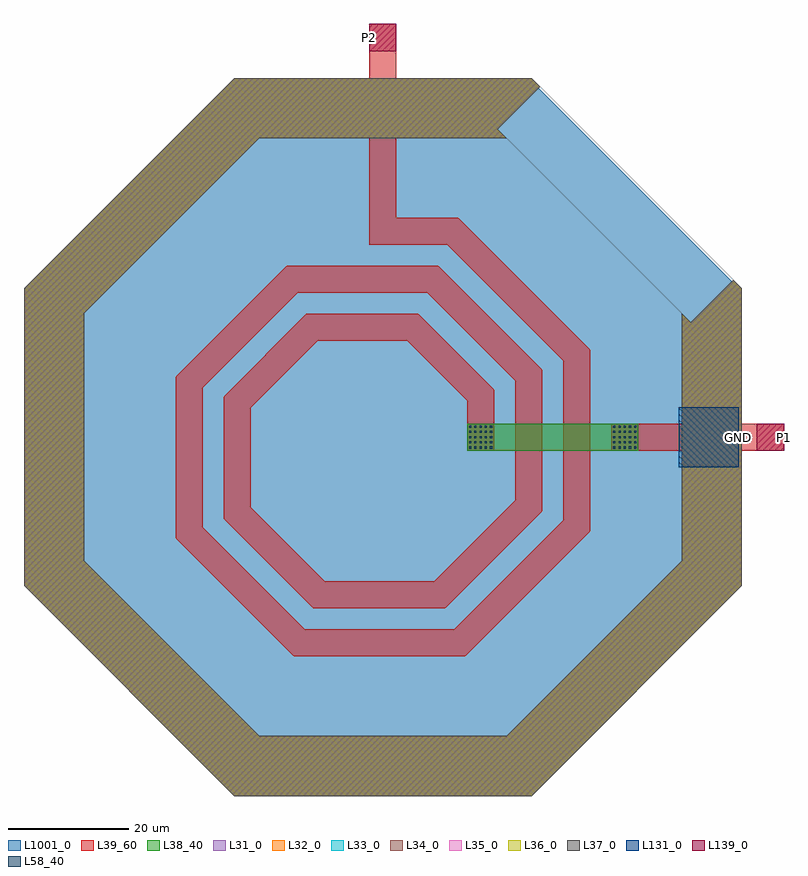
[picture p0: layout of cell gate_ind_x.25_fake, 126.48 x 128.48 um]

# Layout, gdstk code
import gdstk
lib = gdstk.Library(unit=1e-6, precision=1e-09)
def R(c, l, rs):  # rectangles x0, y0, x1, y1
    for r in rs: c.add(gdstk.rectangle(r[:2], r[2:], *l))
def A(c, l, x, y, w, h, nx, ny, dx, dy):  # array of equal rectangles
    R(c, l, [(x+i*dx, y+j*dy, x+i*dx+w, y+j*dy+h) for i in range(nx) for j in range(ny)])
def P(c, l, *ps):  # polygons
    for p in ps: c.add(gdstk.Polygon(p, *l))
L31_0 = (31, 0)
L32_0 = (32, 0)
L33_0 = (33, 0)
L34_0 = (34, 0)
L35_0 = (35, 0)
L36_0 = (36, 0)
L37_0 = (37, 0)
L38_40 = (38, 40)
L39_60 = (39, 60)
L58_40 = (58, 40)
L131_0 = (131, 0)
L139_0 = (139, 0)
L1001_0 = (1001, 0)

gate_ind_x_25_fake = lib.new_cell('gate_ind_x.25_fake')
P(gate_ind_x_25_fake, L31_0, [(51.201,19.137),(58.272,26.208),(24.744,59.737),(-24.744,59.737),(-59.737,24.744),(-59.737,-24.744),(-24.744,-59.737),(24.744,-59.737),(59.737,-24.744),(59.737,24.744),(26.208,58.272),(19.137,51.201),(49.737,20.602),(49.737,-20.602),(20.602,-49.737),(-20.602,-49.737),(-49.737,-20.602),(-49.737,20.602),(-20.602,49.737),(20.602,49.737)])
P(gate_ind_x_25_fake, L32_0, [(51.201,19.137),(58.272,26.208),(24.744,59.737),(-24.744,59.737),(-59.737,24.744),(-59.737,-24.744),(-24.744,-59.737),(24.744,-59.737),(59.737,-24.744),(59.737,24.744),(26.208,58.272),(19.137,51.201),(49.737,20.602),(49.737,-20.602),(20.602,-49.737),(-20.602,-49.737),(-49.737,-20.602),(-49.737,20.602),(-20.602,49.737),(20.602,49.737)])
P(gate_ind_x_25_fake, L33_0, [(51.201,19.137),(58.272,26.208),(24.744,59.737),(-24.744,59.737),(-59.737,24.744),(-59.737,-24.744),(-24.744,-59.737),(24.744,-59.737),(59.737,-24.744),(59.737,24.744),(26.208,58.272),(19.137,51.201),(49.737,20.602),(49.737,-20.602),(20.602,-49.737),(-20.602,-49.737),(-49.737,-20.602),(-49.737,20.602),(-20.602,49.737),(20.602,49.737)])
P(gate_ind_x_25_fake, L34_0, [(51.201,19.137),(58.272,26.208),(24.744,59.737),(-24.744,59.737),(-59.737,24.744),(-59.737,-24.744),(-24.744,-59.737),(24.744,-59.737),(59.737,-24.744),(59.737,24.744),(26.208,58.272),(19.137,51.201),(49.737,20.602),(49.737,-20.602),(20.602,-49.737),(-20.602,-49.737),(-49.737,-20.602),(-49.737,20.602),(-20.602,49.737),(20.602,49.737)])
P(gate_ind_x_25_fake, L35_0, [(51.201,19.137),(58.272,26.208),(24.744,59.737),(-24.744,59.737),(-59.737,24.744),(-59.737,-24.744),(-24.744,-59.737),(24.744,-59.737),(59.737,-24.744),(59.737,24.744),(26.208,58.272),(19.137,51.201),(49.737,20.602),(49.737,-20.602),(20.602,-49.737),(-20.602,-49.737),(-49.737,-20.602),(-49.737,20.602),(-20.602,49.737),(20.602,49.737)])
P(gate_ind_x_25_fake, L36_0, [(51.201,19.137),(58.272,26.208),(24.744,59.737),(-24.744,59.737),(-59.737,24.744),(-59.737,-24.744),(-24.744,-59.737),(24.744,-59.737),(59.737,-24.744),(59.737,24.744),(26.208,58.272),(19.137,51.201),(49.737,20.602),(49.737,-20.602),(20.602,-49.737),(-20.602,-49.737),(-49.737,-20.602),(-49.737,20.602),(-20.602,49.737),(20.602,49.737)])
P(gate_ind_x_25_fake, L37_0, [(51.201,19.137),(58.272,26.208),(24.744,59.737),(-24.744,59.737),(-59.737,24.744),(-59.737,-24.744),(-24.744,-59.737),(24.744,-59.737),(59.737,-24.744),(59.737,24.744),(26.208,58.272),(19.137,51.201),(49.737,20.602),(49.737,-20.602),(20.602,-49.737),(-20.602,-49.737),(-49.737,-20.602),(-49.737,20.602),(-20.602,49.737),(20.602,49.737)])
R(gate_ind_x_25_fake, L38_40, [(13.995,-2.25,42.495,2.25)])
P(gate_ind_x_25_fake, L38_40, [(51.201,19.137),(58.272,26.208),(24.744,59.737),(-24.744,59.737),(-59.737,24.744),(-59.737,-24.744),(-24.744,-59.737),(24.744,-59.737),(59.737,-24.744),(59.737,24.744),(26.208,58.272),(19.137,51.201),(49.737,20.602),(49.737,-20.602),(20.602,-49.737),(-20.602,-49.737),(-49.737,-20.602),(-49.737,20.602),(-20.602,49.737),(20.602,49.737)])
R(gate_ind_x_25_fake, L39_60, [(37.995,-2.25,66.745,2.25), (-2.25,31.995,2.25,68.745)])
P(gate_ind_x_25_fake, L39_60, [(13.995,-2.25),(18.495,-2.25),(18.495,7.902),(5.902,20.495),(-12.732,20.495),(-26.495,6.732),(-26.495,-13.562),(-11.562,-28.495),(10.387,-28.495),(26.495,-12.387),(26.495,11.217),(9.217,28.495),(-16.047,28.495),(-34.495,10.047),(-34.495,-16.877),(-14.877,-36.495),(13.702,-36.495),(34.495,-15.702),(34.495,14.532),(12.532,36.495),(0,36.495),(0,31.995),(10.668,31.995),(29.995,12.668),(29.995,-13.838),(11.838,-31.995),(-13.013,-31.995),(-29.995,-15.013),(-29.995,8.183),(-14.183,23.995),(7.353,23.995),(21.995,9.353),(21.995,-10.523),(8.523,-23.995),(-9.698,-23.995),(-21.995,-11.698),(-21.995,4.868),(-10.868,15.995),(4.038,15.995),(13.995,6.038)],
  [(51.201,19.137),(58.272,26.208),(24.744,59.737),(-24.744,59.737),(-59.737,24.744),(-59.737,-24.744),(-24.744,-59.737),(24.744,-59.737),(59.737,-24.744),(59.737,24.744),(26.208,58.272),(19.137,51.201),(49.737,20.602),(49.737,-20.602),(20.602,-49.737),(-20.602,-49.737),(-49.737,-20.602),(-49.737,20.602),(-20.602,49.737),(20.602,49.737)])
A(gate_ind_x_25_fake, L58_40, 14.332, -1.915, 0.35, 0.35, 5, 5, 0.87, 0.87)
A(gate_ind_x_25_fake, L58_40, 38.332, -1.915, 0.35, 0.35, 5, 5, 0.87, 0.87)
R(gate_ind_x_25_fake, L131_0, [(49.245,-5,59.245,5)])
R(gate_ind_x_25_fake, L139_0, [(62.245,-2.25,66.745,2.25), (-2.25,64.245,2.25,68.745)])
P(gate_ind_x_25_fake, L1001_0, [(59.356,24.586),(24.586,59.356),(-24.586,59.356),(-59.356,24.586),(-59.356,-24.586),(-24.586,-59.356),(24.586,-59.356),(59.356,-24.586)],
  [(59.356,24.586),(24.586,59.356),(-24.586,59.356),(-59.356,24.586),(-59.356,-24.586),(-24.586,-59.356),(24.586,-59.356),(59.356,-24.586)],
  [(59.356,24.586),(24.586,59.356),(-24.586,59.356),(-59.356,24.586),(-59.356,-24.586),(-24.586,-59.356),(24.586,-59.356),(59.356,-24.586)],
  [(59.356,24.586),(24.586,59.356),(-24.586,59.356),(-59.356,24.586),(-59.356,-24.586),(-24.586,-59.356),(24.586,-59.356),(59.356,-24.586)],
  [(59.356,24.586),(24.586,59.356),(-24.586,59.356),(-59.356,24.586),(-59.356,-24.586),(-24.586,-59.356),(24.586,-59.356),(59.356,-24.586)],
  [(59.356,24.586),(24.586,59.356),(-24.586,59.356),(-59.356,24.586),(-59.356,-24.586),(-24.586,-59.356),(24.586,-59.356),(59.356,-24.586)],
  [(59.356,24.586),(24.586,59.356),(-24.586,59.356),(-59.356,24.586),(-59.356,-24.586),(-24.586,-59.356),(24.586,-59.356),(59.356,-24.586)],
  [(59.356,24.586),(24.586,59.356),(-24.586,59.356),(-59.356,24.586),(-59.356,-24.586),(-24.586,-59.356),(24.586,-59.356),(59.356,-24.586)],
  [(59.356,24.586),(24.586,59.356),(-24.586,59.356),(-59.356,24.586),(-59.356,-24.586),(-24.586,-59.356),(24.586,-59.356),(59.356,-24.586)])
gate_ind_x_25_fake.add(gdstk.Label('P1', (66.747,0), layer=139, texttype=0))
gate_ind_x_25_fake.add(gdstk.Label('P2', (-2.25,66.497), layer=139, texttype=0))
gate_ind_x_25_fake.add(gdstk.Label('GND', (59.247,0), layer=131, texttype=0))

lib.write_gds('gate_ind_x.25_fake.gds')
